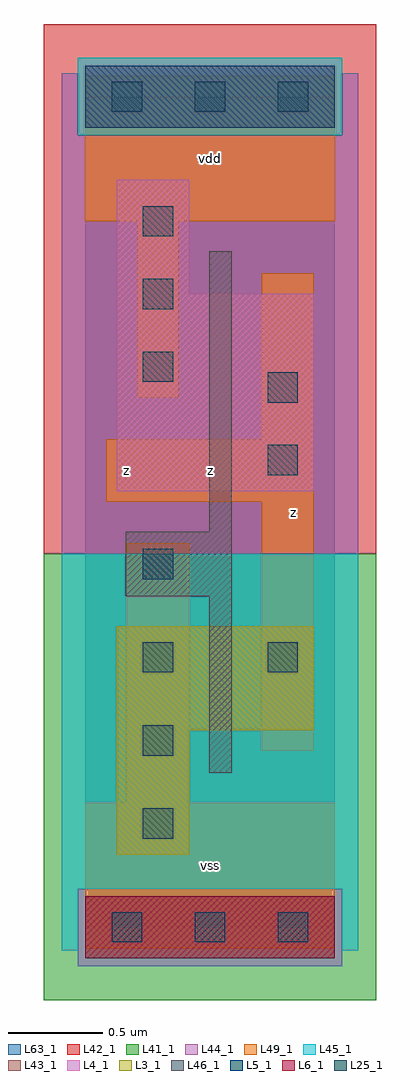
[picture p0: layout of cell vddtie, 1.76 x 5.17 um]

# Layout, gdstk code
import gdstk
lib = gdstk.Library(unit=1e-6, precision=1e-09)
def R(c, l, rs):  # rectangles x0, y0, x1, y1
    for r in rs: c.add(gdstk.rectangle(r[:2], r[2:], *l))
def A(c, l, x, y, w, h, nx, ny, dx, dy):  # array of equal rectangles
    R(c, l, [(x+i*dx, y+j*dy, x+i*dx+w, y+j*dy+h) for i in range(nx) for j in range(ny)])
L3_1 = (3, 1)
L4_1 = (4, 1)
L5_1 = (5, 1)
L6_1 = (6, 1)
L25_1 = (25, 1)
L41_1 = (41, 1)
L42_1 = (42, 1)
L43_1 = (43, 1)
L44_1 = (44, 1)
L45_1 = (45, 1)
L46_1 = (46, 1)
L49_1 = (49, 1)
L63_1 = (63, 1)

vddtie = lib.new_cell('vddtie')
R(vddtie, L3_1, [(0.165,0.385,0.55,1.045), (0.165,1.045,1.21,1.595)])
R(vddtie, L4_1, [(0.165,2.31,1.21,3.355), (0.165,3.355,0.55,3.96)])
R(vddtie, L5_1, [(0,4.235,1.32,4.565)])
R(vddtie, L6_1, [(0,-0.165,1.32,0.165)])
A(vddtie, L25_1, 0.14, -0.08, 0.16, 0.16, 3, 2, 0.44, 4.4)
A(vddtie, L25_1, 0.305, 0.47, 0.16, 0.16, 1, 3, 0, 0.44)
A(vddtie, L25_1, 0.305, 2.89, 0.16, 0.16, 1, 3, 0, 0.385)
R(vddtie, L25_1, [(0.965,1.35,1.125,1.51), (0.305,1.845,0.465,2.005), (0.965,2.395,1.125,2.555), (0.965,2.78,1.125,2.94)])
R(vddtie, L41_1, [(-0.22,-0.385,1.54,1.98)])
R(vddtie, L42_1, [(-0.22,1.98,1.54,4.785)])
R(vddtie, L43_1, [(0,-0.165,1.32,0.165), (0.165,0.385,0.55,1.045), (0.165,1.045,1.21,1.595), (0.165,2.31,1.21,3.355), (0.165,3.355,0.55,3.96), (0,4.235,1.32,4.565)])
R(vddtie, L44_1, [(-0.04,-0.205,1.36,0.205), (-0.125,1.98,1.445,4.195), (-0.125,4.195,-0.04,4.525), (1.36,4.195,1.445,4.525)])
R(vddtie, L45_1, [(-0.125,-0.125,-0.04,0.205), (1.36,-0.125,1.445,0.205), (-0.125,0.205,1.445,1.98), (-0.04,4.195,1.36,4.605)])
R(vddtie, L46_1, [(0.655,0.82,0.775,1.755), (0.215,1.755,0.775,2.095), (0.655,2.095,0.775,3.58)])
R(vddtie, L49_1, [(0,-0.11,1.32,0.66), (0.22,0.66,0.55,2.035), (0.935,0.935,1.21,2.255), (0.11,2.255,1.21,2.585), (0.935,2.585,1.21,3.465), (0.275,2.805,0.495,3.74), (0,3.74,1.32,4.51)])
R(vddtie, L63_1, [(0,0,1.32,4.4)])
vddtie.add(gdstk.Label('z', (0.22,2.42), layer=49, texttype=1))
vddtie.add(gdstk.Label('vss', (0.66,0.33), layer=49, texttype=1))
vddtie.add(gdstk.Label('z', (0.66,2.42), layer=49, texttype=1))
vddtie.add(gdstk.Label('vdd', (0.66,4.07), layer=49, texttype=1))
vddtie.add(gdstk.Label('z', (1.1,2.2), layer=49, texttype=1))

lib.write_gds('vddtie.gds')
